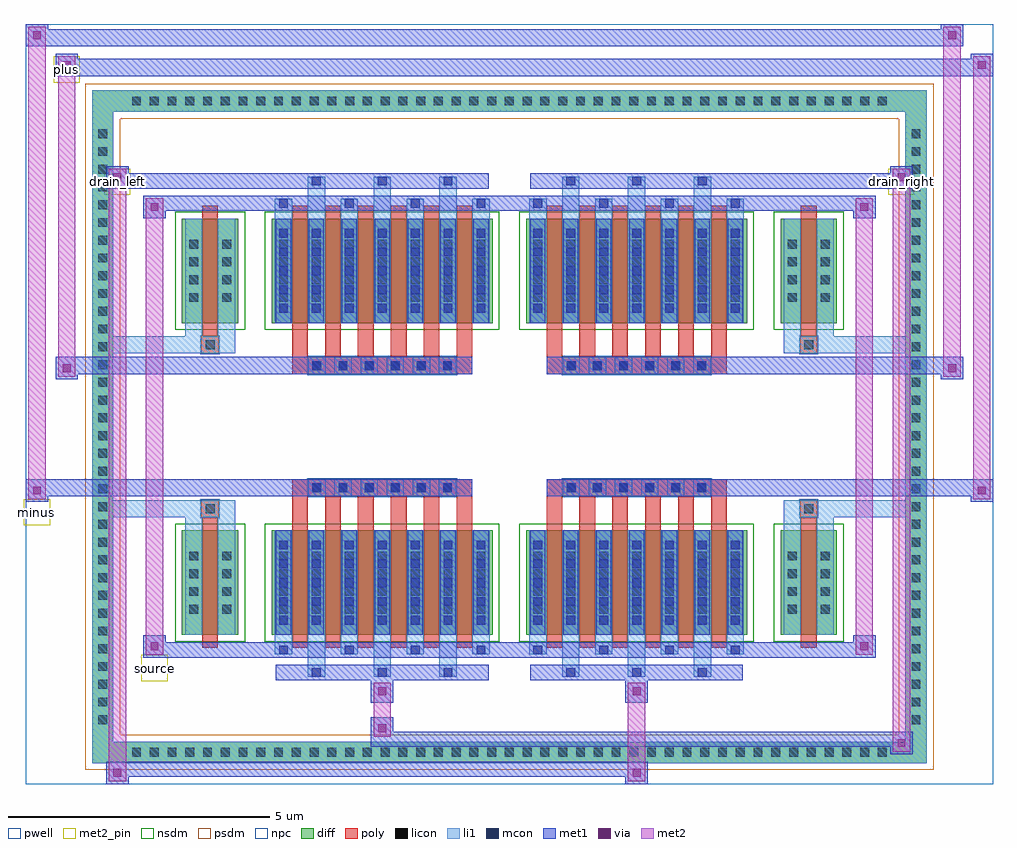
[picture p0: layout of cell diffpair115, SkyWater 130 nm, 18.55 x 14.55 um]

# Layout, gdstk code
import gdstk
lib = gdstk.Library(unit=1e-6, precision=5e-09)
def R(c, l, rs):  # rectangles x0, y0, x1, y1
    for r in rs: c.add(gdstk.rectangle(r[:2], r[2:], *l))
def A(c, l, x, y, w, h, nx, ny, dx, dy):  # array of equal rectangles
    R(c, l, [(x+i*dx, y+j*dy, x+i*dx+w, y+j*dy+h) for i in range(nx) for j in range(ny)])
def P(c, l, *ps):  # polygons
    for p in ps: c.add(gdstk.Polygon(p, *l))
pwell = (64, 44)
diff = (65, 20)
poly = (66, 20)
licon = (66, 44)
li1 = (67, 20)
mcon = (67, 44)
met1 = (68, 20)
via = (68, 44)
met2_pin = (69, 16)
met2 = (69, 20)
nsdm = (93, 44)
psdm = (94, 20)
npc = (95, 20)

diffpair115 = lib.new_cell('diffpair115')
R(diffpair115, pwell, [(-9.26,-6.84,9.26,7.71), (-6.58,-5.03,-0.01,-0.805), (0.01,-5.03,6.58,-0.805), (-6.58,0.805,-0.01,5.03), (0.01,0.805,6.58,5.03)])
A(diffpair115, diff, -7.345, -6.44, 0.41, 0.41, 43, 2, 0.34, 12.47)
A(diffpair115, diff, -7.99, -5.815, 0.41, 0.41, 1, 34, 0, 0.34)
A(diffpair115, diff, 7.58, -5.815, 0.41, 0.41, 1, 34, 0, 0.34)
R(diffpair115, diff, [(-7.345,-6.44,7.345,-6.03), (-7.99,-5.815,-7.58,5.815), (7.58,-5.815,7.99,5.815), (-6.27,-3.985,-5.19,-1.985), (-4.55,-3.985,-0.32,-1.985), (0.32,-3.985,4.55,-1.985), (5.19,-3.985,6.27,-1.985), (-6.27,1.985,-5.19,3.985), (-4.55,1.985,-0.32,3.985), (0.32,1.985,4.55,3.985), (5.19,1.985,6.27,3.985), (-7.345,6.03,7.345,6.44)])
P(diffpair115, diff, [(7.99,6.44),(-7.99,6.44),(-7.99,-6.03),(-7.58,-6.03),(-7.58,6.03),(7.58,6.03),(7.58,-6.03),(-7.58,-6.03),(-7.99,-6.03),(-7.99,-6.44),(7.99,-6.44)])
A(diffpair115, poly, -4.16, -4.235, 0.3, 2.5, 6, 2, 0.63, 5.97)
A(diffpair115, poly, 0.71, -4.235, 0.3, 2.5, 6, 2, 0.63, 5.97)
A(diffpair115, poly, -4.16, -1.735, 0.3, 0.4, 6, 2, 0.63, 3.07)
A(diffpair115, poly, 0.71, -1.735, 0.3, 0.4, 6, 2, 0.63, 3.07)
A(diffpair115, poly, -3.85, -1.335, 0.33, 0.33, 6, 2, 0.5, 2.34)
A(diffpair115, poly, 1.02, -1.335, 0.33, 0.33, 6, 2, 0.5, 2.34)
R(diffpair115, poly, [(-5.88,-4.235,-5.58,-1.735), (5.58,-4.235,5.88,-1.735), (-5.895,-1.735,-5.565,-1.405), (-5.895,-1.735,-5.565,-1.405), (5.565,-1.735,5.895,-1.405), (5.565,-1.735,5.895,-1.405), (-4.16,-1.335,-0.71,-1.005), (0.71,-1.335,4.16,-1.005), (-4.16,1.005,-0.71,1.335), (0.71,1.005,4.16,1.335), (-5.895,1.405,-5.565,1.735), (-5.895,1.405,-5.565,1.735), (5.565,1.405,5.895,1.735), (5.565,1.405,5.895,1.735), (-5.88,1.735,-5.58,4.235), (5.58,1.735,5.88,4.235)])
A(diffpair115, licon, -7.225, -6.32, 0.17, 0.17, 43, 2, 0.34, 12.47)
A(diffpair115, licon, -7.87, -5.695, 0.17, 0.17, 1, 34, 0, 0.34)
A(diffpair115, licon, 7.7, -5.695, 0.17, 0.17, 1, 34, 0, 0.34)
A(diffpair115, licon, -6.13, -3.58, 0.17, 0.17, 1, 4, 0, 0.34)
A(diffpair115, licon, -5.5, -3.58, 0.17, 0.17, 1, 4, 0, 0.34)
A(diffpair115, licon, -4.41, -3.58, 0.17, 0.17, 7, 4, 0.63, 0.34)
A(diffpair115, licon, 0.46, -3.58, 0.17, 0.17, 7, 4, 0.63, 0.34)
A(diffpair115, licon, 5.33, -3.58, 0.17, 0.17, 1, 4, 0, 0.34)
A(diffpair115, licon, 5.96, -3.58, 0.17, 0.17, 1, 4, 0, 0.34)
A(diffpair115, licon, -3.77, -1.255, 0.17, 0.17, 6, 2, 0.5, 2.34)
A(diffpair115, licon, 1.1, -1.255, 0.17, 0.17, 6, 2, 0.5, 2.34)
A(diffpair115, licon, -6.13, 2.39, 0.17, 0.17, 1, 4, 0, 0.34)
A(diffpair115, licon, -5.5, 2.39, 0.17, 0.17, 1, 4, 0, 0.34)
A(diffpair115, licon, -4.41, 2.39, 0.17, 0.17, 7, 4, 0.63, 0.34)
A(diffpair115, licon, 0.46, 2.39, 0.17, 0.17, 7, 4, 0.63, 0.34)
A(diffpair115, licon, 5.33, 2.39, 0.17, 0.17, 1, 4, 0, 0.34)
A(diffpair115, licon, 5.96, 2.39, 0.17, 0.17, 1, 4, 0, 0.34)
R(diffpair115, licon, [(-5.815,-1.655,-5.645,-1.485), (5.645,-1.655,5.815,-1.485), (-5.815,1.485,-5.645,1.655), (5.645,1.485,5.815,1.655)])
A(diffpair115, li1, -7.305, -6.4, 0.33, 0.33, 43, 2, 0.34, 12.47)
A(diffpair115, li1, -7.95, -5.775, 0.33, 0.33, 1, 34, 0, 0.34)
A(diffpair115, li1, 7.62, -5.775, 0.33, 0.33, 1, 34, 0, 0.34)
A(diffpair115, li1, -3.86, -4.79, 0.33, 0.805, 3, 2, 1.26, 8.775)
A(diffpair115, li1, -3.78, -4.79, 0.17, 0.17, 3, 2, 1.26, 9.41)
A(diffpair115, li1, 1.01, -4.79, 0.33, 0.805, 3, 2, 1.26, 8.775)
A(diffpair115, li1, 1.09, -4.79, 0.17, 0.17, 3, 2, 1.26, 9.41)
A(diffpair115, li1, -4.49, -4.36, 0.33, 0.375, 4, 2, 1.26, 8.345)
A(diffpair115, li1, -4.41, -4.36, 0.17, 0.17, 4, 2, 1.26, 8.55)
A(diffpair115, li1, 0.38, -4.36, 0.33, 0.375, 4, 2, 1.26, 8.345)
A(diffpair115, li1, 0.46, -4.36, 0.17, 0.17, 4, 2, 1.26, 8.55)
A(diffpair115, li1, -4.49, -3.985, 0.33, 2, 7, 2, 0.63, 5.97)
A(diffpair115, li1, 0.38, -3.985, 0.33, 2, 7, 2, 0.63, 5.97)
A(diffpair115, li1, -4.41, -3.79, 0.17, 0.17, 7, 5, 0.63, 0.36)
A(diffpair115, li1, -4.41, -3.79, 0.17, 1.61, 7, 2, 0.63, 5.97)
A(diffpair115, li1, 0.46, -3.79, 0.17, 0.17, 7, 5, 0.63, 0.36)
A(diffpair115, li1, 0.46, -3.79, 0.17, 1.61, 7, 2, 0.63, 5.97)
A(diffpair115, li1, -6.21, -3.66, 0.33, 0.33, 1, 4, 0, 0.34)
A(diffpair115, li1, -5.58, -3.66, 0.33, 0.33, 1, 4, 0, 0.34)
A(diffpair115, li1, -4.49, -3.66, 0.33, 0.33, 7, 4, 0.63, 0.34)
A(diffpair115, li1, 0.38, -3.66, 0.33, 0.33, 7, 4, 0.63, 0.34)
A(diffpair115, li1, 5.25, -3.66, 0.33, 0.33, 1, 4, 0, 0.34)
A(diffpair115, li1, 5.88, -3.66, 0.33, 0.33, 1, 4, 0, 0.34)
A(diffpair115, li1, -3.85, -1.335, 0.33, 0.33, 6, 2, 0.5, 2.34)
A(diffpair115, li1, 1.02, -1.335, 0.33, 0.33, 6, 2, 0.5, 2.34)
A(diffpair115, li1, -4.41, 2.18, 0.17, 0.17, 7, 5, 0.63, 0.36)
A(diffpair115, li1, 0.46, 2.18, 0.17, 0.17, 7, 5, 0.63, 0.36)
A(diffpair115, li1, -6.21, 2.31, 0.33, 0.33, 1, 4, 0, 0.34)
A(diffpair115, li1, -5.58, 2.31, 0.33, 0.33, 1, 4, 0, 0.34)
A(diffpair115, li1, -4.49, 2.31, 0.33, 0.33, 7, 4, 0.63, 0.34)
A(diffpair115, li1, 0.38, 2.31, 0.33, 0.33, 7, 4, 0.63, 0.34)
A(diffpair115, li1, 5.25, 2.31, 0.33, 0.33, 1, 4, 0, 0.34)
A(diffpair115, li1, 5.88, 2.31, 0.33, 0.33, 1, 4, 0, 0.34)
R(diffpair115, li1, [(-7.99,-6.44,-7.58,-6.03), (-7.99,-6.44,-7.58,-6.03), (-7.58,-6.44,7.58,-6.03), (7.58,-6.44,7.99,-6.03), (7.58,-6.44,7.99,-6.03), (-7.99,-6.03,-7.58,6.03), (7.58,-6.03,7.99,6.03), (-6.21,-3.985,-5.88,-1.985), (-5.58,-3.985,-5.25,-1.985), (5.25,-3.985,5.58,-1.985), (5.88,-3.985,6.21,-1.985), (-6.21,-1.985,-5.88,-1.405), (-5.58,-1.985,-5.25,-1.405), (5.25,-1.985,5.58,-1.405), (5.88,-1.985,6.21,-1.405), (-7.99,-1.735,-5.895,-1.405), (-6.21,-1.735,-5.895,-1.405), (-5.895,-1.735,-5.565,-1.405), (-5.565,-1.735,-5.25,-1.405), (5.25,-1.735,5.565,-1.405), (5.565,-1.735,5.895,-1.405), (5.565,-1.735,7.99,-1.405), (5.895,-1.735,6.21,-1.405), (-7.99,1.405,-5.895,1.735), (-6.21,1.405,-5.895,1.735), (-6.21,1.405,-5.88,1.985), (-5.895,1.405,-5.565,1.735), (-5.58,1.405,-5.25,1.985), (-5.565,1.405,-5.25,1.735), (5.25,1.405,5.565,1.735), (5.25,1.405,5.58,1.985), (5.565,1.405,5.895,1.735), (5.565,1.405,7.99,1.735), (5.88,1.405,6.21,1.985), (5.895,1.405,6.21,1.735), (-6.21,1.985,-5.88,3.985), (-5.58,1.985,-5.25,3.985), (5.25,1.985,5.58,3.985), (5.88,1.985,6.21,3.985), (-7.99,6.03,-7.58,6.44), (-7.99,6.03,-7.58,6.44), (-7.58,6.03,7.58,6.44), (7.58,6.03,7.99,6.44), (7.58,6.03,7.99,6.44)])
A(diffpair115, mcon, -3.78, -4.79, 0.17, 0.17, 3, 2, 1.26, 9.41)
A(diffpair115, mcon, 1.09, -4.79, 0.17, 0.17, 3, 2, 1.26, 9.41)
A(diffpair115, mcon, -4.41, -4.36, 0.17, 0.17, 4, 2, 1.26, 8.55)
A(diffpair115, mcon, 0.46, -4.36, 0.17, 0.17, 4, 2, 1.26, 8.55)
A(diffpair115, mcon, -4.41, -3.79, 0.17, 0.17, 7, 5, 0.63, 0.36)
A(diffpair115, mcon, 0.46, -3.79, 0.17, 0.17, 7, 5, 0.63, 0.36)
A(diffpair115, mcon, -3.77, -1.255, 0.17, 0.17, 6, 2, 0.5, 2.34)
A(diffpair115, mcon, 1.1, -1.255, 0.17, 0.17, 6, 2, 0.5, 2.34)
A(diffpair115, mcon, -4.41, 2.18, 0.17, 0.17, 7, 5, 0.63, 0.36)
A(diffpair115, mcon, 0.46, 2.18, 0.17, 0.17, 7, 5, 0.63, 0.36)
A(diffpair115, met1, -3.84, -4.85, 0.29, 0.29, 3, 2, 1.26, 9.41)
A(diffpair115, met1, 1.03, -4.85, 0.29, 0.29, 3, 2, 1.26, 9.41)
A(diffpair115, met1, -4.47, -4.42, 0.29, 0.29, 4, 2, 1.26, 8.55)
A(diffpair115, met1, 0.4, -4.42, 0.29, 0.29, 4, 2, 1.26, 8.55)
A(diffpair115, met1, -4.47, -3.985, 0.29, 2, 7, 2, 0.63, 5.97)
A(diffpair115, met1, 0.4, -3.985, 0.29, 2, 7, 2, 0.63, 5.97)
A(diffpair115, met1, -4.47, -3.85, 0.29, 0.29, 7, 5, 0.63, 0.36)
A(diffpair115, met1, 0.4, -3.85, 0.29, 0.29, 7, 5, 0.63, 0.36)
A(diffpair115, met1, -3.83, -1.315, 0.29, 0.29, 6, 2, 0.5, 2.34)
A(diffpair115, met1, 1.04, -1.315, 0.29, 0.29, 6, 2, 0.5, 2.34)
A(diffpair115, met1, -4.47, 2.12, 0.29, 0.29, 7, 5, 0.63, 0.36)
A(diffpair115, met1, 0.4, 2.12, 0.29, 0.29, 7, 5, 0.63, 0.36)
R(diffpair115, met1, [(-7.72,-6.84,-7.29,-6.41), (2.22,-6.84,2.65,-6.41), (-7.72,-6.7,2.65,-6.41), (7.29,-6.27,7.72,-5.84), (-2.65,-6.13,7.72,-5.84), (-2.65,-5.99,-2.22,-5.56), (-2.65,-5.28,-2.22,-4.85), (2.22,-5.28,2.65,-4.85), (-4.47,-4.85,-0.4,-4.56), (0.4,-4.85,4.47,-4.56), (-7.01,-4.42,-6.58,-3.99), (-7.01,-4.42,-4.47,-4.13), (-4.47,-4.42,-0.4,-4.13), (-0.4,-4.42,0.4,-4.13), (0.4,-4.42,4.47,-4.13), (4.47,-4.42,7.01,-4.13), (6.58,-4.42,7.01,-3.99), (-9.26,-1.435,-8.83,-1.005), (8.83,-1.435,9.26,-1.005), (-9.26,-1.335,-0.71,-1.005), (-4.16,-1.335,-0.71,-1.005), (0.71,-1.335,4.16,-1.005), (0.71,-1.335,9.26,-1.005), (-8.69,0.905,-8.26,1.335), (8.26,0.905,8.69,1.335), (-8.69,1.005,-4.16,1.335), (-4.16,1.005,-0.71,1.335), (0.71,1.005,4.16,1.335), (4.16,1.005,8.69,1.335), (-7.01,3.99,-6.58,4.42), (6.58,3.99,7.01,4.42), (-7.01,4.13,-4.47,4.42), (-4.47,4.13,-0.4,4.42), (-0.4,4.13,0.4,4.42), (0.4,4.13,4.47,4.42), (4.47,4.13,7.01,4.42), (-7.72,4.56,-7.29,4.99), (-7.72,4.56,-4.47,4.85), (-4.47,4.56,-0.4,4.85), (0.4,4.56,4.47,4.85), (4.47,4.56,7.72,4.85), (7.29,4.56,7.72,4.99), (-8.69,6.71,-8.26,7.14), (-8.69,6.71,-6.58,7.04), (-6.58,6.71,6.58,7.04), (6.58,6.71,9.26,7.04), (8.83,6.71,9.26,7.14), (-9.26,7.28,-8.83,7.71), (-9.26,7.28,-6.58,7.61), (-6.58,7.28,6.58,7.61), (6.58,7.28,8.69,7.61), (8.26,7.28,8.69,7.71)])
R(diffpair115, via, [(-7.58,-6.7,-7.43,-6.55), (2.36,-6.7,2.51,-6.55), (7.43,-6.13,7.58,-5.98), (-2.51,-5.85,-2.36,-5.7), (-2.51,-5.14,-2.36,-4.99), (2.36,-5.14,2.51,-4.99), (-6.87,-4.28,-6.72,-4.13), (6.72,-4.28,6.87,-4.13), (-9.12,-1.295,-8.97,-1.145), (8.97,-1.295,9.12,-1.145), (-8.55,1.045,-8.4,1.195), (8.4,1.045,8.55,1.195), (-6.87,4.13,-6.72,4.28), (6.72,4.13,6.87,4.28), (-7.58,4.7,-7.43,4.85), (7.43,4.7,7.58,4.85), (-8.55,6.85,-8.4,7), (8.97,6.85,9.12,7), (-9.12,7.42,-8.97,7.57), (8.4,7.42,8.55,7.57)])
R(diffpair115, met2_pin, [(-7.045,-4.87,-6.545,-4.37), (-9.295,-1.885,-8.795,-1.385), (-7.755,4.44,-7.255,4.94), (7.255,4.44,7.755,4.94), (-8.725,6.59,-8.225,7.09)])
R(diffpair115, met2, [(-7.67,-6.79,-7.34,-6.46), (-7.67,-6.79,-7.34,4.94), (2.27,-6.79,2.6,-6.46), (2.27,-6.46,2.6,-5.23), (7.34,-6.22,7.67,-5.89), (7.34,-6.22,7.67,4.94), (-2.6,-5.94,-2.27,-5.61), (-2.6,-5.61,-2.27,-5.23), (-2.6,-5.23,-2.27,-4.9), (2.27,-5.23,2.6,-4.9), (-6.96,-4.37,-6.63,-4.04), (-6.96,-4.37,-6.63,4.37), (6.63,-4.37,6.96,-4.04), (6.63,-4.37,6.96,4.37), (-9.21,-1.385,-8.88,-1.055), (-9.21,-1.385,-8.88,7.66), (8.88,-1.385,9.21,-1.055), (8.88,-1.385,9.21,7.09), (-8.64,0.955,-8.31,1.285), (-8.64,0.955,-8.31,7.09), (8.31,0.955,8.64,1.285), (8.31,0.955,8.64,7.66), (-6.96,4.04,-6.63,4.37), (6.63,4.04,6.96,4.37), (-7.67,4.61,-7.34,4.94), (7.34,4.61,7.67,4.94), (-8.64,6.76,-8.31,7.09), (8.88,6.76,9.21,7.09), (-9.21,7.33,-8.88,7.66), (8.31,7.33,8.64,7.66)])
P(diffpair115, met2, [(9.21,-1.385),(9.21,-1.385),(9.21,-1.055),(9.21,-1.055)],
  [(9.21,6.76),(9.21,6.76),(9.21,7.09),(9.21,7.09)],
  [(-8.88,-1.385),(-8.88,-1.385),(-8.88,-1.055),(-8.88,-1.055)],
  [(-8.88,7.33),(-8.88,7.33),(-8.88,7.66),(-8.88,7.66)],
  [(8.64,0.955),(8.64,0.955),(8.64,1.285),(8.64,1.285)],
  [(8.64,7.33),(8.64,7.33),(8.64,7.66),(8.64,7.66)],
  [(-8.31,0.955),(-8.31,0.955),(-8.31,1.285),(-8.31,1.285)],
  [(-8.31,6.76),(-8.31,6.76),(-8.31,7.09),(-8.31,7.09)],
  [(-7.34,-6.79),(-7.34,-6.79),(-7.34,-6.46),(-7.34,-6.46)],
  [(-7.34,4.61),(-7.34,4.61),(-7.34,4.94),(-7.34,4.94)],
  [(7.67,-6.22),(7.67,-6.22),(7.67,-5.89),(7.67,-5.89)],
  [(7.67,4.61),(7.67,4.61),(7.67,4.94),(7.67,4.94)],
  [(-6.63,-4.37),(-6.63,-4.37),(-6.63,-4.04),(-6.63,-4.04)],
  [(-6.63,4.04),(-6.63,4.04),(-6.63,4.37),(-6.63,4.37)],
  [(6.96,-4.37),(6.96,-4.37),(6.96,-4.04),(6.96,-4.04)],
  [(6.96,4.04),(6.96,4.04),(6.96,4.37),(6.96,4.37)])
R(diffpair115, nsdm, [(-6.4,-4.115,-5.06,-1.855), (-4.68,-4.115,-0.19,-1.855), (0.19,-4.115,4.68,-1.855), (5.06,-4.115,6.4,-1.855), (-6.4,1.855,-5.06,4.115), (-4.68,1.855,-0.19,4.115), (0.19,1.855,4.68,4.115), (5.06,1.855,6.4,4.115)])
P(diffpair115, psdm, [(8.12,6.57),(-8.12,6.57),(-8.12,-5.9),(-7.45,-5.9),(-7.45,5.9),(7.45,5.9),(7.45,-5.9),(-7.45,-5.9),(-8.12,-5.9),(-8.12,-6.57),(8.12,-6.57)])
A(diffpair115, npc, -3.87, -1.355, 0.37, 0.37, 6, 2, 0.5, 2.34)
A(diffpair115, npc, 1, -1.355, 0.37, 0.37, 6, 2, 0.5, 2.34)
R(diffpair115, npc, [(-5.915,-1.755,-5.545,-1.385), (5.545,-1.755,5.915,-1.385), (-3.87,-1.355,-3,-0.985), (-3.87,-1.355,-3,-0.985), (-3.37,-1.355,-2.5,-0.985), (-3.37,-1.355,-2.5,-0.985), (-2.87,-1.355,-2,-0.985), (-2.87,-1.355,-2,-0.985), (-2.37,-1.355,-1.5,-0.985), (-2.37,-1.355,-1.5,-0.985), (-1.87,-1.355,-1,-0.985), (-1.87,-1.355,-1,-0.985), (1,-1.355,1.87,-0.985), (1,-1.355,1.87,-0.985), (1.5,-1.355,2.37,-0.985), (1.5,-1.355,2.37,-0.985), (2,-1.355,2.87,-0.985), (2,-1.355,2.87,-0.985), (2.5,-1.355,3.37,-0.985), (2.5,-1.355,3.37,-0.985), (3,-1.355,3.87,-0.985), (3,-1.355,3.87,-0.985), (-3.87,0.985,-3,1.355), (-3.87,0.985,-3,1.355), (-3.37,0.985,-2.5,1.355), (-3.37,0.985,-2.5,1.355), (-2.87,0.985,-2,1.355), (-2.87,0.985,-2,1.355), (-2.37,0.985,-1.5,1.355), (-2.37,0.985,-1.5,1.355), (-1.87,0.985,-1,1.355), (-1.87,0.985,-1,1.355), (1,0.985,1.87,1.355), (1,0.985,1.87,1.355), (1.5,0.985,2.37,1.355), (1.5,0.985,2.37,1.355), (2,0.985,2.87,1.355), (2,0.985,2.87,1.355), (2.5,0.985,3.37,1.355), (2.5,0.985,3.37,1.355), (3,0.985,3.87,1.355), (3,0.985,3.87,1.355), (-5.915,1.385,-5.545,1.755), (5.545,1.385,5.915,1.755)])
diffpair115.add(gdstk.Label('minus', (-9.045,-1.635), layer=69, texttype=5))
diffpair115.add(gdstk.Label('drain_right', (7.505,4.69), layer=69, texttype=5))
diffpair115.add(gdstk.Label('drain_left', (-7.505,4.69), layer=69, texttype=5))
diffpair115.add(gdstk.Label('source', (-6.795,-4.62), layer=69, texttype=5))
diffpair115.add(gdstk.Label('plus', (-8.475,6.84), layer=69, texttype=5))

lib.write_gds('diffpair115.gds')
